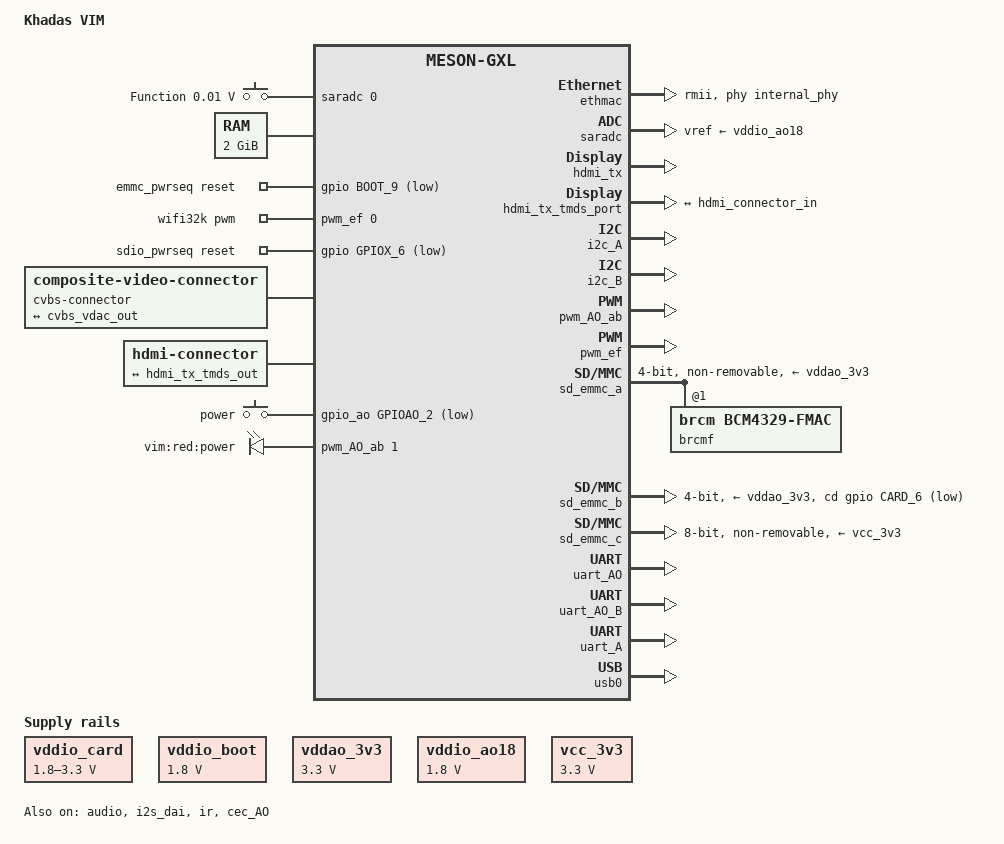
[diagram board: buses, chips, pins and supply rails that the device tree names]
/*
 * Copyright (c) 2017 Martin Blumenstingl <martin.blumenstingl@googlemail.com>.
 *
 * SPDX-License-Identifier: (GPL-2.0+ OR MIT)
 */

/dts-v1/;

#include <dt-bindings/input/input.h>

#include "meson-gxl-s905x.dtsi"

/ {
	compatible = "khadas,vim", "amlogic,s905x", "amlogic,meson-gxl";
	model = "Khadas VIM";

	adc-keys {
		compatible = "adc-keys";
		io-channels = <&saradc 0>;
		io-channel-names = "buttons";
		keyup-threshold-microvolt = <1710000>;

		button-function {
			label = "Function";
			linux,code = <KEY_FN>;
			press-threshold-microvolt = <10000>;
		};
	};

	aliases {
		serial0 = &uart_AO;
	};

	chosen {
		stdout-path = "serial0:115200n8";
	};

	memory@0 {
		device_type = "memory";
		reg = <0x0 0x0 0x0 0x80000000>;
	};

	vddio_card: gpio-regulator {
		compatible = "regulator-gpio";

		regulator-name = "VDDIO_CARD";
		regulator-min-microvolt = <1800000>;
		regulator-max-microvolt = <3300000>;

		gpios = <&gpio_ao GPIOAO_5 GPIO_ACTIVE_HIGH>;
		gpios-states = <1>;

		/* Based on P200 schematics, signal CARD_1.8V/3.3V_CTR */
		states = <1800000 0
			  3300000 1>;
	};

	vddio_boot: regulator-vddio_boot {
		compatible = "regulator-fixed";
		regulator-name = "VDDIO_BOOT";
		regulator-min-microvolt = <1800000>;
		regulator-max-microvolt = <1800000>;
	};

	vddao_3v3: regulator-vddao_3v3 {
		compatible = "regulator-fixed";
		regulator-name = "VDDAO_3V3";
		regulator-min-microvolt = <3300000>;
		regulator-max-microvolt = <3300000>;
	};

	vddio_ao18: regulator-vddio_ao18 {
		compatible = "regulator-fixed";
		regulator-name = "VDDIO_AO18";
		regulator-min-microvolt = <1800000>;
		regulator-max-microvolt = <1800000>;
	};

	vcc_3v3: regulator-vcc_3v3 {
		compatible = "regulator-fixed";
		regulator-name = "VCC_3V3";
		regulator-min-microvolt = <3300000>;
		regulator-max-microvolt = <3300000>;
	};

	emmc_pwrseq: emmc-pwrseq {
		compatible = "mmc-pwrseq-emmc";
		reset-gpios = <&gpio BOOT_9 GPIO_ACTIVE_LOW>;
	};

	wifi32k: wifi32k {
		compatible = "pwm-clock";
		#clock-cells = <0>;
		clock-frequency = <32768>;
		pwms = <&pwm_ef 0 30518 0>; /* PWM_E at 32.768KHz */
	};

	sdio_pwrseq: sdio-pwrseq {
		compatible = "mmc-pwrseq-simple";
		reset-gpios = <&gpio GPIOX_6 GPIO_ACTIVE_LOW>;
		clocks = <&wifi32k>;
		clock-names = "ext_clock";
	};

	cvbs-connector {
		compatible = "composite-video-connector";

		port {
			cvbs_connector_in: endpoint {
				remote-endpoint = <&cvbs_vdac_out>;
			};
		};
	};

	hdmi-connector {
		compatible = "hdmi-connector";
		type = "a";

		port {
			hdmi_connector_in: endpoint {
				remote-endpoint = <&hdmi_tx_tmds_out>;
			};
		};
	};

	soc {
		sound {
			compatible = "simple-audio-card";
			simple-audio-card,name = "meson-gxl";

			simple-audio-card,dai-link@0 {
				format = "i2s";
				mclk-fs = <256>;
				bitclock-master = <&i2s_dai>;
				frame-master = <&i2s_dai>;

				plat {
					sound-dai = <&aiu_i2s_dma>;
				};

				cpu {
					sound-dai = <&i2s_dai>;
				};

				codec {
					sound-dai = <&hdmi_tx>;
				};
			};
		};
	};


	gpio-keys-polled {
		compatible = "gpio-keys-polled";
		#address-cells = <1>;
		#size-cells = <0>;
		poll-interval = <100>;

		button@0 {
			label = "power";
			linux,code = <KEY_POWER>;
			gpios = <&gpio_ao GPIOAO_2 GPIO_ACTIVE_LOW>;
		};
	};

	pwmleds {
		compatible = "pwm-leds";

		power {
			label = "vim:red:power";
			pwms = <&pwm_AO_ab 1 7812500 0>;
			max-brightness = <255>;
			linux,default-trigger = "default-on";
		};
	};


};

&audio {
	status = "okay";
};

&aiu_i2s_dma {
	status = "okay";
};

&i2s_dai {
	pinctrl-0 = <&i2s_am_clk_pins>, <&i2s_out_ao_clk_pins>,
		    <&i2s_out_lr_clk_pins>, <&i2s_out_ch01_pins>;
	pinctrl-names = "default";
	status = "okay";
};

&ethmac {
	status = "okay";
	phy-mode = "rmii";
	phy-handle = <&internal_phy>;
};

&ir {
	status = "okay";
	pinctrl-0 = <&remote_input_ao_pins>;
	pinctrl-names = "default";
};

&saradc {
	status = "okay";
	vref-supply = <&vddio_ao18>;
};


&hdmi_tx {
	status = "okay";
	pinctrl-0 = <&hdmi_hpd_pins>, <&hdmi_i2c_pins>;
	pinctrl-names = "default";
};

&hdmi_tx_tmds_port {
	hdmi_tx_tmds_out: endpoint {
		remote-endpoint = <&hdmi_connector_in>;
	};
};

&i2c_A {
	status = "okay";
	pinctrl-0 = <&i2c_a_pins>;
	pinctrl-names = "default";
};

&i2c_B {
	status = "okay";
	pinctrl-0 = <&i2c_b_pins>;
	pinctrl-names = "default";

	rtc: rtc@51 {
		/* has to be enabled manually when a battery is connected: */
		status = "disabled";
		compatible = "haoyu,hym8563";
		reg = <0x51>;
		#clock-cells = <0>;
		clock-frequency = <32768>;
		clock-output-names = "xin32k";
	};
};

&ir {
	linux,rc-map-name = "rc-geekbox";
};

&pwm_AO_ab {
	status = "okay";
	pinctrl-0 = <&pwm_ao_a_3_pins>, <&pwm_ao_b_pins>;
	pinctrl-names = "default";
	clocks = <&clkc CLKID_FCLK_DIV4>;
	clock-names = "clkin0";
};

&pwm_ef {
	pinctrl-0 = <&pwm_e_pins>, <&pwm_f_clk_pins>;
};

&pwm_ef {
	status = "okay";
	pinctrl-0 = <&pwm_e_pins>;
	pinctrl-names = "default";
	clocks = <&clkc CLKID_FCLK_DIV4>;
	clock-names = "clkin0";
};

&sd_emmc_a {
	brcmf: bcrmf@1 {
		reg = <1>;
		compatible = "brcm,bcm4329-fmac";
	};
};

/* Wireless SDIO Module */
&sd_emmc_a {
	status = "okay";
	pinctrl-0 = <&sdio_pins>;
	pinctrl-names = "default";
	#address-cells = <1>;
	#size-cells = <0>;

	bus-width = <4>;
	cap-sd-highspeed;
	max-frequency = <100000000>;

	non-removable;
	disable-wp;

	mmc-pwrseq = <&sdio_pwrseq>;

	vmmc-supply = <&vddao_3v3>;
	vqmmc-supply = <&vddio_boot>;
};

/* SD card */
&sd_emmc_b {
	status = "okay";
	pinctrl-0 = <&sdcard_pins>;
	pinctrl-names = "default";

	bus-width = <4>;
	cap-sd-highspeed;
	max-frequency = <100000000>;
	disable-wp;

	cd-gpios = <&gpio CARD_6 GPIO_ACTIVE_HIGH>;
	cd-inverted;

	vmmc-supply = <&vddao_3v3>;
	vqmmc-supply = <&vddio_card>;
};

/* eMMC */
&sd_emmc_c {
	status = "okay";
	pinctrl-0 = <&emmc_pins>;
	pinctrl-names = "default";

	bus-width = <8>;
	cap-sd-highspeed;
	cap-mmc-highspeed;
	max-frequency = <200000000>;
	non-removable;
	disable-wp;
	mmc-ddr-1_8v;
	mmc-hs200-1_8v;

	mmc-pwrseq = <&emmc_pwrseq>;
	vmmc-supply = <&vcc_3v3>;
	vqmmc-supply = <&vddio_boot>;
};




/* This is brought out on the Linux_RX (18) and Linux_TX (19) pins: */
&uart_AO {
	status = "okay";
	pinctrl-0 = <&uart_ao_a_pins>;
	pinctrl-names = "default";
};


/* This is brought out on the UART_RX_AO_B (15) and UART_TX_AO_B (16) pins: */
&uart_AO_B {
	status = "okay";
	pinctrl-0 = <&uart_ao_b_pins>;
	pinctrl-names = "default";
};

/* This is connected to the Bluetooth module: */
&uart_A {
	status = "okay";
	pinctrl-0 = <&uart_a_pins>, <&uart_a_cts_rts_pins>;
	pinctrl-names = "default";
	uart-has-rtscts;
};

&cec_AO {
	status = "okay";
	pinctrl-0 = <&ao_cec_pins>;
	pinctrl-names = "default";
	hdmi-phandle = <&hdmi_tx>;
};

&cvbs_vdac_port {
	cvbs_vdac_out: endpoint {
		remote-endpoint = <&cvbs_connector_in>;
	};
};

&hdmi_tx {
	status = "okay";
	pinctrl-0 = <&hdmi_hpd_pins>, <&hdmi_i2c_pins>;
	pinctrl-names = "default";
};

&hdmi_tx_tmds_port {
	hdmi_tx_tmds_out: endpoint {
		remote-endpoint = <&hdmi_connector_in>;
	};
};

&usb0 {
	status = "okay";
};
